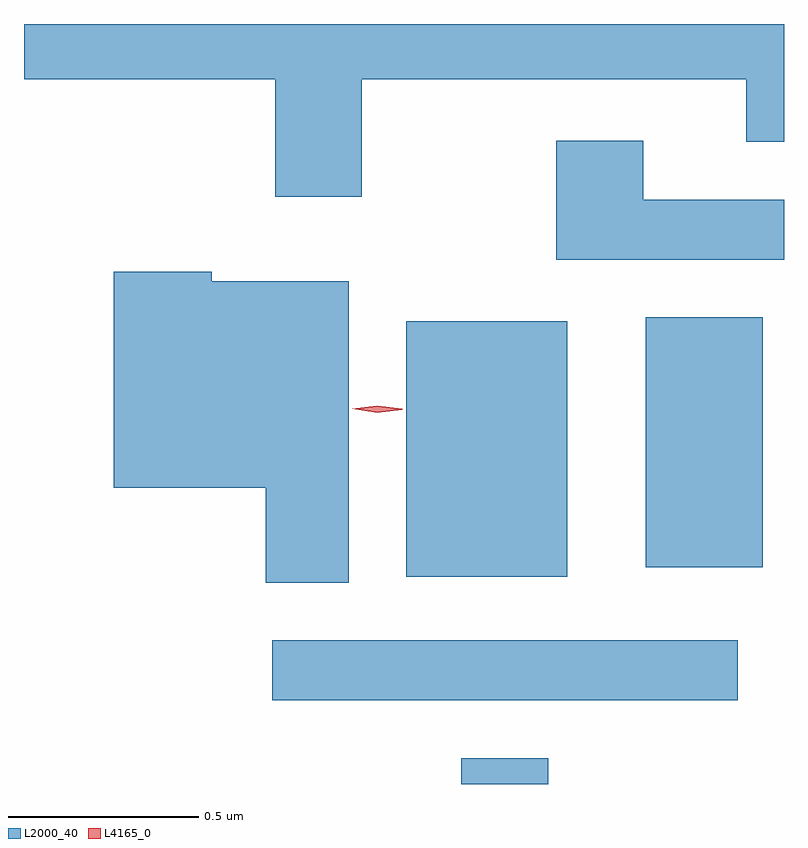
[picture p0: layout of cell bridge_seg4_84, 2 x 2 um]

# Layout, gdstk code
import gdstk
lib = gdstk.Library(unit=1e-6, precision=1e-09)
def R(c, l, rs):  # rectangles x0, y0, x1, y1
    for r in rs: c.add(gdstk.rectangle(r[:2], r[2:], *l))
def P(c, l, *ps):  # polygons
    for p in ps: c.add(gdstk.Polygon(p, *l))
L2000_40 = (2000, 40)
L4165_0 = (4165, 0)

bridge_seg4_84 = lib.new_cell('bridge_seg4_84')
R(bridge_seg4_84, L2000_40, [(1119.721,1383.901,1119.949,1383.969), (1119.223,1384.121,1120.448,1384.279), (1119.576,1384.446,1119.999,1385.119), (1120.206,1384.471,1120.514,1385.129)])
P(bridge_seg4_84, L2000_40, [(1119.459,1385.756),(1120.471,1385.756),(1120.471,1385.591),(1120.57,1385.591),(1120.57,1385.901),(1118.57,1385.901),(1118.57,1385.756),(1119.231,1385.756),(1119.231,1385.446),(1119.459,1385.446)],
  [(1120.57,1385.439),(1120.199,1385.439),(1120.199,1385.594),(1119.971,1385.594),(1119.971,1385.281),(1120.57,1385.281)],
  [(1119.424,1385.224),(1119.064,1385.224),(1119.064,1385.249),(1118.806,1385.249),(1118.806,1384.681),(1119.206,1384.681),(1119.206,1384.431),(1119.424,1384.431)])
P(bridge_seg4_84, L4165_0, [(1119.5,1384.878),(1119.434,1384.888),(1119.434,1384.888),(1119.434,1384.889),(1119.5,1384.897),(1119.566,1384.888),(1119.566,1384.887),(1119.566,1384.886)])

lib.write_gds('bridge_seg4_84.gds')
